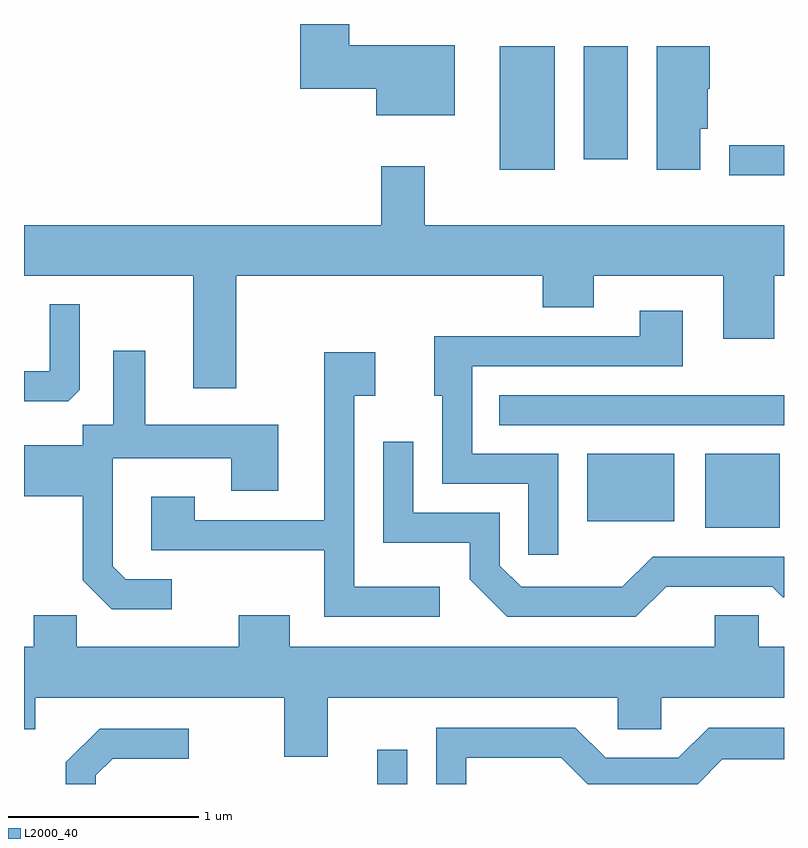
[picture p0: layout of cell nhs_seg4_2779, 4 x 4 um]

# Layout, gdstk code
import gdstk
lib = gdstk.Library(unit=1e-6, precision=1e-09)
def R(c, l, rs):  # rectangles x0, y0, x1, y1
    for r in rs: c.add(gdstk.rectangle(r[:2], r[2:], *l))
def P(c, l, *ps):  # polygons
    for p in ps: c.add(gdstk.Polygon(p, *l))
L2000_40 = (2000, 40)

nhs_seg4_2779 = lib.new_cell('nhs_seg4_2779')
R(nhs_seg4_2779, L2000_40, [(267.471,1371.982,267.629,1372.163), (269.196,1373.331,269.589,1373.719), (268.576,1373.366,269.034,1373.719), (268.113,1373.871,269.611,1374.029), (269.323,1375.186,269.611,1375.344), (268.116,1375.216,268.404,1375.864), (268.556,1375.271,268.789,1375.864)])
P(nhs_seg4_2779, L2000_40, [(267.879,1375.869),(267.324,1375.869),(267.324,1375.982),(267.066,1375.982),(267.066,1375.641),(267.466,1375.641),(267.466,1375.501),(267.879,1375.501)],
  [(269.169,1375.431),(269.209,1375.431),(269.209,1375.64),(269.219,1375.64),(269.219,1375.864),(268.941,1375.864),(268.941,1375.216),(269.169,1375.216)],
  [(267.719,1375.234),(267.491,1375.234),(267.491,1374.924),(265.611,1374.924),(265.611,1374.656),(266.501,1374.656),(266.501,1374.066),(266.729,1374.066),(266.729,1374.656),(268.341,1374.656),(268.341,1374.491),(268.609,1374.491),(268.609,1374.656),(269.291,1374.656),(269.291,1374.326),(269.559,1374.326),(269.559,1374.656),(269.611,1374.656),(269.611,1374.924),(267.719,1374.924)],
  [(265.904,1374.057),(265.904,1374.508),(265.746,1374.508),(265.746,1374.154),(265.611,1374.154),(265.611,1373.996),(265.844,1373.996)],
  [(268.424,1373.719),(267.969,1373.719),(267.969,1374.181),(269.079,1374.181),(269.079,1374.474),(268.851,1374.474),(268.851,1374.339),(267.771,1374.339),(267.771,1374.026),(267.811,1374.026),(267.811,1373.561),(268.266,1373.561),(268.266,1373.188),(268.424,1373.188)],
  [(266.388,1373.059),(266.147,1373.059),(266.079,1373.127),(266.079,1373.696),(266.701,1373.696),(266.701,1373.526),(266.949,1373.526),(266.949,1373.874),(266.249,1373.874),(266.249,1374.263),(266.081,1374.263),(266.081,1373.874),(265.921,1373.874),(265.921,1373.764),(265.611,1373.764),(265.611,1373.496),(265.921,1373.496),(265.921,1373.054),(266.074,1372.901),(266.388,1372.901)],
  [(267.798,1373.019),(267.349,1373.019),(267.349,1374.026),(267.459,1374.026),(267.459,1374.254),(267.191,1374.254),(267.191,1373.369),(266.509,1373.369),(266.509,1373.494),(266.281,1373.494),(266.281,1373.211),(267.191,1373.211),(267.191,1372.861),(267.798,1372.861)],
  [(268.992,1373.021),(269.549,1373.021),(269.604,1372.966),(269.611,1372.966),(269.611,1373.179),(268.919,1373.179),(268.759,1373.019),(268.227,1373.019),(268.114,1373.132),(268.114,1373.409),(267.659,1373.409),(267.659,1373.783),(267.501,1373.783),(267.501,1373.251),(267.956,1373.251),(267.956,1373.059),(268.154,1372.861),(268.832,1372.861)],
  [(267.209,1372.436),(268.736,1372.436),(268.736,1372.271),(268.964,1372.271),(268.964,1372.436),(269.611,1372.436),(269.611,1372.704),(269.479,1372.704),(269.479,1372.869),(269.246,1372.869),(269.246,1372.704),(267.009,1372.704),(267.009,1372.869),(266.741,1372.869),(266.741,1372.704),(265.889,1372.704),(265.889,1372.869),(265.661,1372.869),(265.661,1372.704),(265.611,1372.704),(265.611,1372.271),(265.669,1372.271),(265.669,1372.436),(266.981,1372.436),(266.981,1372.126),(267.209,1372.126)],
  [(267.939,1372.121),(268.439,1372.121),(268.578,1371.982),(269.158,1371.982),(269.287,1372.111),(269.611,1372.111),(269.611,1372.279),(269.214,1372.279),(269.054,1372.119),(268.672,1372.119),(268.512,1372.279),(267.781,1372.279),(267.781,1371.982),(267.939,1371.982)],
  [(265.989,1372.029),(266.077,1372.116),(266.478,1372.116),(266.478,1372.274),(266.009,1372.274),(265.831,1372.097),(265.831,1371.982),(265.989,1371.982)])

lib.write_gds('nhs_seg4_2779.gds')
